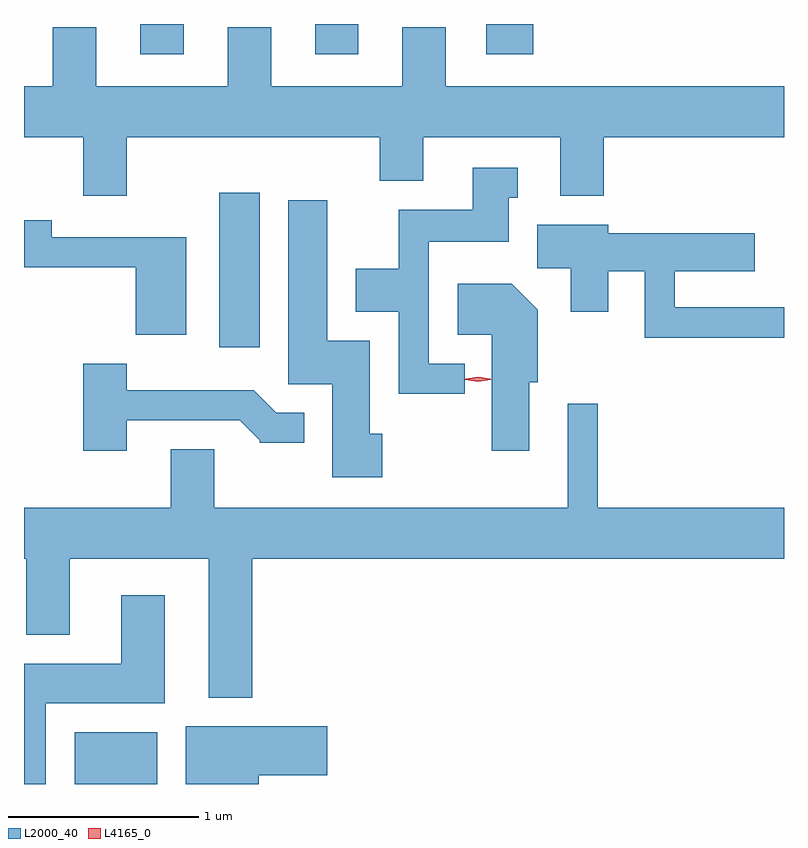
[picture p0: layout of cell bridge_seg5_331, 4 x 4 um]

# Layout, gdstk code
import gdstk
lib = gdstk.Library(unit=1e-6, precision=1e-09)
def R(c, l, rs):  # rectangles x0, y0, x1, y1
    for r in rs: c.add(gdstk.rectangle(r[:2], r[2:], *l))
def P(c, l, *ps):  # polygons
    for p in ps: c.add(gdstk.Polygon(p, *l))
L2000_40 = (2000, 40)
L4165_0 = (4165, 0)

bridge_seg5_331 = lib.new_cell('bridge_seg5_331')
R(bridge_seg5_331, L2000_40, [(787.666,1442.291,788.099,1442.564), (788.426,1444.591,788.639,1445.404), (788.011,1446.131,788.239,1446.291), (788.931,1446.131,789.159,1446.291), (789.831,1446.131,790.079,1446.291)])
P(bridge_seg5_331, L2000_40, [(787.939,1445.696),(789.271,1445.696),(789.271,1445.466),(789.499,1445.466),(789.499,1445.696),(790.221,1445.696),(790.221,1445.386),(790.449,1445.386),(790.449,1445.696),(791.399,1445.696),(791.399,1445.964),(789.619,1445.964),(789.619,1446.274),(789.391,1446.274),(789.391,1445.964),(788.699,1445.964),(788.699,1446.274),(788.471,1446.274),(788.471,1445.964),(787.779,1445.964),(787.779,1446.274),(787.551,1446.274),(787.551,1445.964),(787.399,1445.964),(787.399,1445.696),(787.711,1445.696),(787.711,1445.386),(787.939,1445.386)],
  [(789.718,1444.504),(789.529,1444.504),(789.529,1445.146),(789.949,1445.146),(789.949,1445.376),(789.998,1445.376),(789.998,1445.534),(789.761,1445.534),(789.761,1445.314),(789.371,1445.314),(789.371,1445.004),(789.146,1445.004),(789.146,1444.776),(789.371,1444.776),(789.371,1444.346),(789.718,1444.346)],
  [(789.284,1444.134),(789.219,1444.134),(789.219,1444.624),(788.994,1444.624),(788.994,1445.364),(788.791,1445.364),(788.791,1444.396),(789.021,1444.396),(789.021,1443.906),(789.284,1443.906)],
  [(788.254,1445.169),(787.544,1445.169),(787.544,1445.259),(787.399,1445.259),(787.399,1445.011),(787.986,1445.011),(787.986,1444.656),(788.254,1444.656)],
  [(791.399,1444.799),(790.824,1444.799),(790.824,1444.991),(791.244,1444.991),(791.244,1445.189),(790.474,1445.189),(790.474,1445.234),(790.101,1445.234),(790.101,1445.006),(790.276,1445.006),(790.276,1444.776),(790.474,1444.776),(790.474,1444.991),(790.666,1444.991),(790.666,1444.641),(791.399,1444.641)],
  [(790.059,1444.406),(790.104,1444.406),(790.104,1444.787),(789.967,1444.924),(789.681,1444.924),(789.681,1444.656),(789.861,1444.656),(789.861,1444.046),(790.059,1444.046)],
  [(787.939,1444.206),(788.534,1444.206),(788.64,1444.1),(788.64,1444.086),(788.873,1444.086),(788.873,1444.244),(788.727,1444.244),(788.607,1444.364),(787.939,1444.364),(787.939,1444.504),(787.711,1444.504),(787.711,1444.046),(787.939,1444.046)],
  [(788.599,1443.476),(791.399,1443.476),(791.399,1443.744),(790.419,1443.744),(790.419,1444.293),(790.261,1444.293),(790.261,1443.744),(788.399,1443.744),(788.399,1444.054),(788.171,1444.054),(788.171,1443.744),(787.399,1443.744),(787.399,1443.476),(787.411,1443.476),(787.411,1443.076),(787.639,1443.076),(787.639,1443.476),(788.371,1443.476),(788.371,1442.746),(788.599,1442.746)],
  [(787.514,1442.716),(788.139,1442.716),(788.139,1443.284),(787.911,1443.284),(787.911,1442.924),(787.399,1442.924),(787.399,1442.291),(787.514,1442.291)],
  [(788.634,1442.336),(788.994,1442.336),(788.994,1442.594),(788.251,1442.594),(788.251,1442.291),(788.634,1442.291)])
P(bridge_seg5_331, L4165_0, [(789.788,1444.414),(789.723,1444.424),(789.722,1444.425),(789.723,1444.425),(789.789,1444.434),(789.854,1444.423),(789.855,1444.422),(789.854,1444.422)],
  [(789.788,1444.409),(789.719,1444.419),(789.719,1444.42),(789.719,1444.42),(789.788,1444.429),(789.857,1444.419),(789.857,1444.418),(789.857,1444.418)])

lib.write_gds('bridge_seg5_331.gds')
